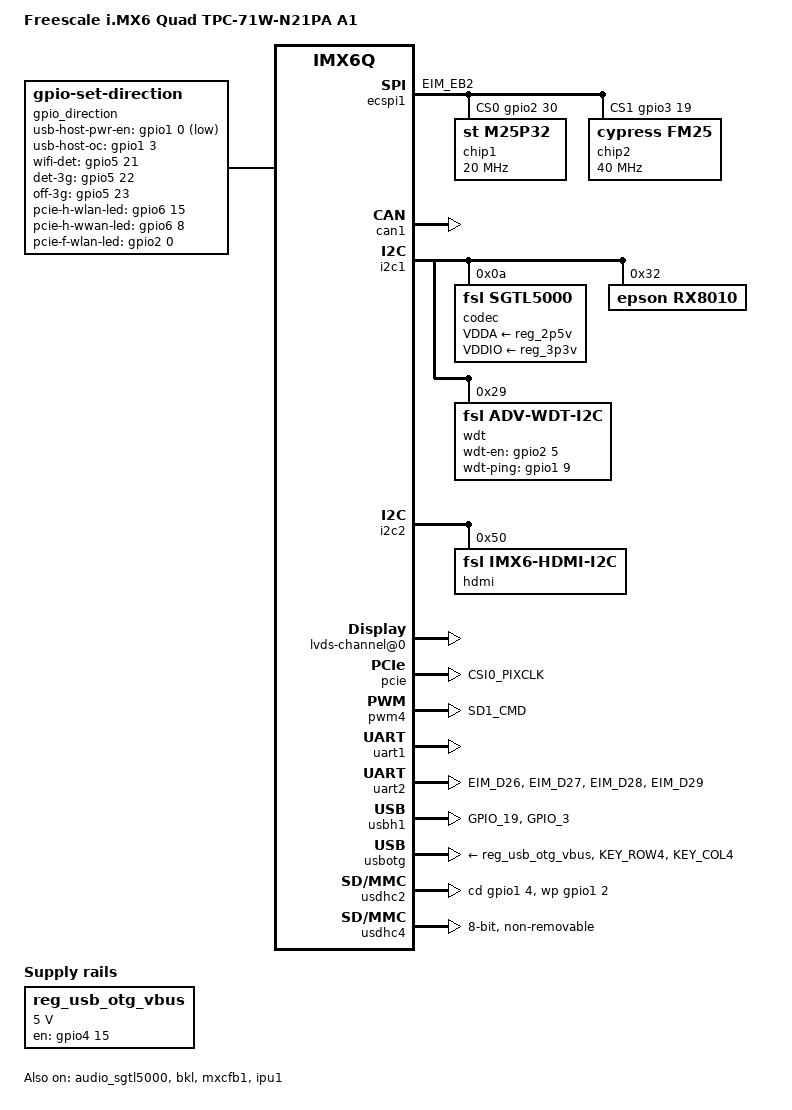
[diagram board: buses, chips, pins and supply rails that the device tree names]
/*
 * Copyright 2012 Freescale Semiconductor, Inc.
 * Copyright 2011 Linaro Ltd.
 *
 * The code contained herein is licensed under the GNU General Public
 * License. You may obtain a copy of the GNU General Public License
 * Version 2 or later at the following locations:
 *
 * http://www.opensource.org/licenses/gpl-license.html
 * http://www.gnu.org/copyleft/gpl.html
 */

/dts-v1/;

#include "imx6q.dtsi"
#include "imx6qdl-advantech.dtsi"

/ {
	model = "Freescale i.MX6 Quad TPC-71W-N21PA A1";
	compatible = "fsl,imx6q-sabresd", "fsl,imx6q";

	board {
		compatible = "proc-board";
		board-type = "TPC-71W-N21PA";
		board-cpu = "DualQuad";
	};

	regulators {

		reg_usb_otg_vbus: usb_otg_vbus {
			compatible = "regulator-fixed";
			regulator-name = "usb_otg_vbus";
			regulator-min-microvolt = <5000000>;
			regulator-max-microvolt = <5000000>;
			gpio = <&gpio4 15  GPIO_ACTIVE_HIGH>;
			enable-active-high;
		};
	};

	leds {
		compatible = "gpio-leds";
		pinctrl-names = "default";
		pinctrl-0 = <&pinctrl_leds_debug_1>;
		/*	
		debug-led {
			label = "Heartbeat";
			gpios = <&gpio7 12 0>;
			linux,default-trigger = "heartbeat";
		};
		*/
	};

	gpio_direction {
		pinctrl-names = "default";
		compatible = "gpio-set-direction";
		usb-host-pwr-en = <&gpio1 0 1>;
		usb-host-oc = <&gpio1 3 0>;
		wifi-det = <&gpio5 21 0>;
		det-3g = <&gpio5 22 0>;
		off-3g = <&gpio5 23 0>;
		pcie-h-wlan-led = <&gpio6 15 0>;
		pcie-h-wwan-led = <&gpio6 8 0>;
		pcie-f-wlan-led = <&gpio2 0 0>;
		pcie-f-wwan-led = <&gpio2 4 0>;
	};
};

&audio_sgtl5000 {
	audio-codec = <&codec>;
	mux-ext-port = <4>;
	status = "okay";
};
/*
&audmux {
    pinctrl-names = "default";
	pinctrl-0 = <&pinctrl_audmux_4>;
	status = "okay";
};
*/
&bkl {
	lvds-bkl-enable = <&gpio4 6 1>;
	lvds-vcc-enable = <&gpio4 7 1>;
	lvds-vcc-delay-time = <650>;	
	lvds-bkl-delay-time = <650>; 
	pwms = <&pwm4 0 5000000>;
	brightness-levels = <0 70 75 80 85 90 95 100>;
	status = "okay";
};

&ecspi1 {
	fsl,spi-num-chipselects = <2>;
	cs-gpios = <&gpio2 30 0>, <&gpio3 19 0>;
	pinctrl-names = "default";
	pinctrl-0 = <&pinctrl_ecspi1_1 &pinctrl_ecspi1_cs_0 &pinctrl_ecspi1_cs_1>;
	status = "okay";

	chip1: m25p80@0 {
		compatible = "st,m25p32";
		spi-max-frequency = <20000000>;
		reg = <0>;
	};
	chip2: fm25@1 {
		/*compatible = "ramtron,fm25v10";*/
		compatible = "cypress,fm25";
		spi-max-frequency = <40000000>;
		reg = <1>;
	};
};

&can1 {
	pinctrl-names = "default";
	pinctrl-0 = <&pinctrl_flexcan1_3>;
	status = "okay";
};

&i2c1 {
	codec: sgtl5000@0a {
		compatible = "fsl,sgtl5000";
		reg = <0x0a>;
		clocks = <&clks 201>;
		VDDA-supply = <&reg_2p5v>;
		VDDIO-supply = <&reg_3p3v>;
		mclk = <16000000>;
		mclk_source = <0>;
	};

	rx8010@32 {
		compatible = "epson,rx8010";
		reg = <0x32>;
	};

	wdt@29 {
		compatible = "fsl,adv-wdt-i2c";
		pinctrl-names = "default";
		pinctrl-0 = <&pinctrl_wdt_en_1 &pinctrl_wdt_ping_1>;
		status = "okay";
		wdt-en = <&gpio2 5 0>;
		wdt-ping = <&gpio1 9 0>;
		reg = <0x29>;
	};

	/*
	eeprom@50 {
		compatible = "atmel,24c08";
		reg = <0x50>;
		pagesize = <16>;
	};
	*/
};

&i2c2 {
	hdmi: edid@50 {
		compatible = "fsl,imx6-hdmi-i2c";
		reg = <0x50>;
	};
};

&i2c3 {
	status = "disabled";
};

&iomuxc {
	pinctrl-names = "default";
	pinctrl-0 = <&pinctrl_hog_1 &pinctrl_hog_2>;

	hog {
		pinctrl_hog_1: hoggrp-1 {
			fsl,pins = <
				MX6QDL_PAD_GPIO_2__GPIO1_IO02		0x80000000	/* SD card - SD2_WP */
				MX6QDL_PAD_GPIO_4__GPIO1_IO04		0x80000000	/* SD card - SD2_CD */
				MX6QDL_PAD_EIM_D30__GPIO3_IO30		0x0001B0B0	/* BORAD_ID0 */
				MX6QDL_PAD_EIM_D31__GPIO3_IO31		0x000130B0	/* BORAD_ID1 */
                MX6QDL_PAD_GPIO_0__CCM_CLKO1        0x130b0		/* AUDIO CLK */
			>;
		};

		pinctrl_hog_2: hoggrp-2 {
			fsl,pins = <
				MX6QDL_PAD_CSI0_VSYNC__GPIO5_IO21	0x0001B0B0	/* WIFI_DET# */
				MX6QDL_PAD_CSI0_DAT4__GPIO5_IO22	0x0001B0B0	/* 3G_DET# */
				MX6QDL_PAD_CSI0_DAT5__GPIO5_IO23	0x0001B0B0	/* 3G_OFF# */
				MX6QDL_PAD_NANDF_CS2__GPIO6_IO15	0x0001B0B0	/* PCIE_H_WLAN_LED# */
				MX6QDL_PAD_NANDF_ALE__GPIO6_IO08	0x0001B0B0	/* PCIE_H_WWAN_LED# */
				MX6QDL_PAD_NANDF_D0__GPIO2_IO00		0x0001B0B0	/* PCIE_F_WLAN_LED# */
				MX6QDL_PAD_NANDF_D4__GPIO2_IO04		0x00017059	/* PCIE_F_WWAN_LED# */
			>;
		};
	};

	leds {
		pinctrl_leds_debug_1: leds_debug1grp-1{
			fsl,pins = <
				MX6QDL_PAD_GPIO_17__GPIO7_IO12		0x000130B0 	/* gpio - led */
				MX6QDL_PAD_KEY_ROW3__GPIO4_IO13		0x80000000	/* debug gpio_01 */
				MX6QDL_PAD_KEY_COL3__GPIO4_IO12		0x80000000	/* debug gpio_02 */
			>;
		};
	};

	pcie {
		pinctrl_pcie_1: pcie1grp-1 {
			fsl,pins = <
				MX6QDL_PAD_CSI0_PIXCLK__GPIO5_IO18	0x80000000	/* PCIE disable pin - WIFI_OFF# */
			>;
		};
	};

	pwm4 {
		pinctrl_pwm4_1: pwm4grp-1 {
			fsl,pins = <
				MX6QDL_PAD_SD1_CMD__PWM4_OUT		0x1b0b1
			>;
		};
	};

	spi1 {
		pinctrl_ecspi1_cs_0: ecspi1_cs_grp-0 {
			fsl,pins = <
				MX6QDL_PAD_EIM_EB2__GPIO2_IO30		0x80000000	/* ECSPI1_CS0 */
			>;
		};
	};

	uart2 {
		pinctrl_uart2_3: uart2grp-3 { /* DCE mode */
			fsl,pins = <
				MX6QDL_PAD_EIM_D26__UART2_TX_DATA		0x1b0b1
				MX6QDL_PAD_EIM_D27__UART2_RX_DATA		0x1b0b1
				MX6QDL_PAD_EIM_D28__UART2_CTS_B			0x1b0b1
				MX6QDL_PAD_EIM_D29__UART2_RTS_B			0x1b0b1
			>;
		};
	};

	usbh1 {
		pinctrl_usbh1_1: usbh1_grp-1 {
			fsl,pins = <
				MX6QDL_PAD_GPIO_19__GPIO4_IO05		0x00017099	/* USB_HOST_PWR_EN */
				MX6QDL_PAD_GPIO_3__GPIO1_IO03		0x0001B8B1	/* USB_HOST_OC# */
			>;
		};
	};

	usbotg {
		pinctrl_usbotg_pwr_1: usbotg_pwr_grp-1 {
			fsl,pins = <
				MX6QDL_PAD_KEY_ROW4__GPIO4_IO15		0x80000000	/* USB_OTG_PWR_EN */
				MX6QDL_PAD_KEY_COL4__GPIO4_IO14		0x0001B0B0	/* USB_OTG_OC */
			>;
		};
	};

	wdt{
		pinctrl_wdt_en_1: wdt_engrp-1 {
			fsl,pins = <
				MX6QDL_PAD_NANDF_D5__GPIO2_IO05		0x80000000
			>;
		};

		pinctrl_wdt_ping_1: wdt_pinggrp-1 {
			fsl,pins = <
				MX6QDL_PAD_GPIO_9__GPIO1_IO09		0x80000000
			>;
		};
	};
};

&ldb {
	lvds-channel@0 {
		crtc = "ipu1-di0";

		display-timings {
			native-mode = <&timing60>;

			timing60: av070nn04a {
				clock-frequency = <29500000>;
				hactive = <1024>;
				vactive = <600>;
				hback-porch = <0>;
				hfront-porch = <35>;
				vback-porch = <0>;
				vfront-porch = <320>;
				hsync-len = <72>;
				vsync-len = <7>;
			}; 
		};
	};

	lvds-channel@1 {
		status ="disabled";
	};
};

&lcd {
	status = "disable";
};

&hdmi_core {
	ipu_id = <0>;
	disp_id = <1>;
	status = "disable";
};

&mxcfb1 {
	compatible = "fsl,mxc_sdc_fb";
	disp_dev = "ldb";
	interface_pix_fmt = "RGB24";
	default_bpp = <32>;
	int_clk = <0>;
	late_init = <1>;
	fb_base = <0x27800000>;
	fb_size = <0x01800000>;
	status = "okay";
};

&mxcfb3 {
	status = "disabled";
};

&pcie {
	pinctrl-names = "default";
	pinctrl-0 = <&pinctrl_pcie_1>;
	disable-gpio = <&gpio5 18 0>;
	status = "okay";
};

&pwm4 {
	pinctrl-names = "default";
	pinctrl-0 = <&pinctrl_pwm4_1>;
	status = "okay";

};

&uart1 {
	pinctrl-names = "default";
	pinctrl-0 = <&pinctrl_uart1_1>;
	status = "okay";
};

&uart2 {
	pinctrl-names = "default";
	pinctrl-0 = <&pinctrl_uart2_3>;
	fsl,uart-has-rtscts;
	status = "okay";
};

&usbh1 {
	pinctrl-names = "default";
	pinctrl-0 = <&pinctrl_usbh1_1>;
	status = "okay";
};

&usbotg {
	pinctrl-names = "default";
	pinctrl-0 = <&pinctrl_usbotg_1 &pinctrl_usbotg_pwr_1>;
	vbus-supply = <&reg_usb_otg_vbus>;
	imx6-usb-charger-detection;
	status = "okay";
};

&usdhc2 {
	pinctrl-names = "default";
	pinctrl-0 = <&pinctrl_usdhc2_2>;
	cd-gpios = <&gpio1 4 0>;
	wp-gpios = <&gpio1 2 0>;
	no-1-8-v;
	keep-power-in-suspend;
	enable-sdio-wakeup;
	status = "okay";
};

&usdhc4 {
	pinctrl-names = "default";
	pinctrl-0 = <&pinctrl_usdhc4_1>;
	bus-width = <8>;
	non-removable;
	no-1-8-v;
	keep-power-in-suspend;
	status = "okay";
};

&wdog1 {
	status = "disabled";
};

//	primary;
&ldb {                        
	lvds-channel@0 {
		crtc = "ipu1-di0";
		status = "okay";
	};

	lvds-channel@1 {
		status = "disabled";
	};
};

&ipu1 {
	bypass_reset = <1>;
	status = "okay";
};

